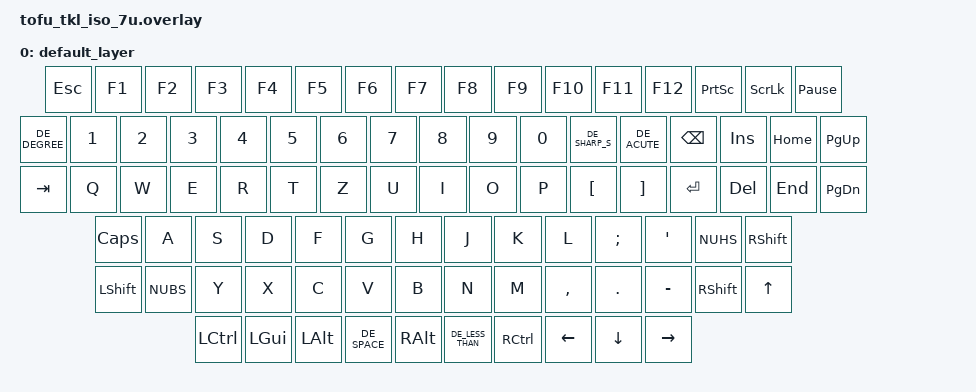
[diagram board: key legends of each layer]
#include <behaviors.dtsi>
#include <dt-bindings/zmk/keys.h>
#include <dt-bindings/zmk/bt.h>

#include "locale/keys_de.h"
#include "tofu_tkl_iso_7u-layouts.dtsi"

/ {
    keymap {
        compatible = "zmk,keymap";

        default_layer {
				// --------------------------------------------------------------------------------------------------------------------------------
				// | ESC     |     F1  |  F2  |  F3  |  F4 |  F5  |  F6  | F7 |  F8   |  F9  |  F10  |  F11  |  F12  |   PRNT  |  SLCK  |  PAUSE  |
                // | CARET |  1  |  2  |  3   |  4   |  5 | 6  |  7  |  8  |  9  |  0 |  ß   |  ´    |      BKSP     |   INS   |  HOME  |  PG_UP  |
				// | TAB      |  Q  |  W  |   E  |   R  | T  | Z  |  U  |  I  |  O  | P  |   Ü   |   *  |   ENTER    |   DEL   |  END   |  PG_DN  |
				// | CAPS       |  A  |  S  |  D  |  F  |  G  |  H  |  J  |  K  |  L  |  Ö  |  Ä  |  #     |         |                            |
                // |  SHIFT       |  Y  |  X  |  C  |  V  |  B  |  N  |  M  |  ,  |  .  |   -  |        SHIFT        |         |   UP   |         |
				// |  CTL  |  WIN  |  ALT   |               SPACE                    |   ALT    | WIN  |    CTRL     |   LEFT  |  DOWN  | RIGHT   |
				// --------------------------------------------------------------------------------------------------------------------------------
        bindings = <
                &kp ESC &kp F1 &kp F2 &kp F3 &kp F4 &kp F5 &kp F6 &kp F7 &kp F8 &kp F9 &kp F10 &kp F11 &kp F12 &kp PSCRN &kp SLCK &kp PAUSE_BREAK
                &kp DE_DEGREE &kp N1 &kp N2 &kp N3 &kp N4 &kp N5 &kp N6 &kp N7 &kp N8 &kp N9 &kp N0 &kp DE_SHARP_S &kp DE_ACUTE  &kp BSPC &kp INS &kp HOME &kp PG_UP
                &kp TAB &kp Q &kp W &kp E &kp R &kp T &kp Z &kp U &kp I &kp O &kp P &kp LBKT &kp RBKT &kp RET &kp DEL &kp END &kp PG_DN
                &kp CLCK &kp A &kp S &kp D &kp F &kp G &kp H &kp J &kp K &kp L &kp SEMI &kp SQT &kp NUHS &kp RSHIFT 
                &kp LSHFT &kp NUBS &kp Y &kp X &kp C &kp V &kp B &kp N &kp M &kp COMMA &kp DOT &kp MINUS &kp RSHIFT &kp UP
                &kp LCTRL &kp LGUI &kp LALT &kp DE_SPACE &kp RALT &kp DE_LESS_THAN &kp RCTRL &kp LEFT &kp DOWN &kp RIGHT
            >;
    };

    chosen {
        zmk,physical-layout = &layout_tkl_iso;
        zmk,kscan = &kscan_keys;
        zmk,matrix-transform = &matrix_transform_0;
    };

    layout_tkl_iso: layout_tkl_iso {
        compatible = "zmk,physical-layout";
        transform = <&matrix_transform_0>;
    };

    kscan_keys: kscan_keys {
        compatible = "zmk,kscan-gpio-matrix";
        wakeup-source;
        diode-direction = "col2row";

        col-gpios = <
            &shifter 0 GPIO_ACTIVE_LOW
            &shifter 1 GPIO_ACTIVE_LOW
            &shifter 2 GPIO_ACTIVE_LOW
            &shifter 3 GPIO_ACTIVE_LOW
            &shifter 4 GPIO_ACTIVE_LOW
            &shifter 5 GPIO_ACTIVE_LOW
            &shifter 6 GPIO_ACTIVE_LOW
            &shifter 7 GPIO_ACTIVE_LOW
            &shifter 8 GPIO_ACTIVE_LOW
            &shifter 9 GPIO_ACTIVE_LOW
            &shifter 10 GPIO_ACTIVE_LOW
            &shifter 11 GPIO_ACTIVE_LOW
            &shifter 12 GPIO_ACTIVE_LOW
            &shifter 13 GPIO_ACTIVE_LOW
            &shifter 14 GPIO_ACTIVE_LOW
            &shifter 15 GPIO_ACTIVE_LOW
        >;

        row-gpios = <
            &gpio0 30 (GPIO_ACTIVE_LOW | GPIO_PULL_UP)
            &gpio0 31 (GPIO_ACTIVE_LOW | GPIO_PULL_UP)
            &gpio0 29 (GPIO_ACTIVE_LOW | GPIO_PULL_UP)
            &gpio0 2  (GPIO_ACTIVE_LOW | GPIO_PULL_UP)
            &gpio0 9  (GPIO_ACTIVE_LOW | GPIO_PULL_UP)
            &gpio0 10 (GPIO_ACTIVE_LOW | GPIO_PULL_UP)
        >;
    };
};
